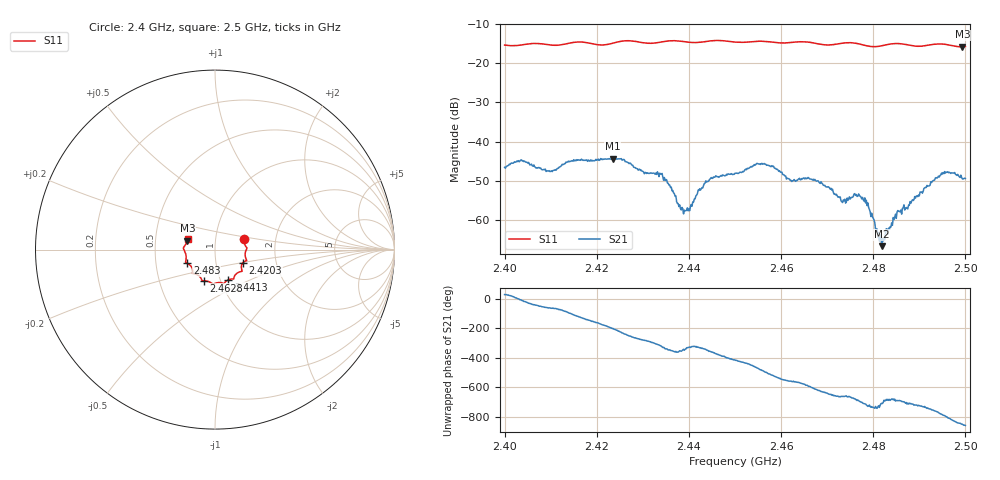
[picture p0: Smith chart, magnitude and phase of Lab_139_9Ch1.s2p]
# Hz S RI R 50
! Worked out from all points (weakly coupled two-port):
!   601 points, 2.4 GHz to 2.5 GHz, reference 50 ohm
!   highest |S21| = -44.35 dB at 2.4235 GHz (marker M1); lowest = -66.7 dB at 2.4818 GHz (marker M2)
!   lowest |S11| = -15.8 dB at 2.4993 GHz (marker M3), VSWR 1.39, Z = 36.5 + j3.72 ohm
!   |S11| at or under -10 dB: start of sweep to end of sweep
!   S12 and S22 are empty: the file has one direction only
!   S11 on the Smith chart (normalised r, x): 2.4 GHz: 1.37, +0.16; 2.4203 GHz: 1.35, -0.21; 2.4413 GHz: 1.09, -0.38; 2.4628 GHz: 0.83, -0.30; 2.483 GHz: 0.72, -0.11; 2.5 GHz: 0.73, +0.09
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2.4e9  0.1606 0.057  0.00403 0.00238  0 0  0 0
2.403833e9  0.1708 0.019  0.00554 -0.00107  0 0  0 0
2.41e9  0.1704 -0.01  0.00193 -0.00368  0 0  0 0
2.416667e9  0.1762 -0.0614  -0.00358 -0.00475  0 0  0 0
2.420333e9  0.1552 -0.0738  -0.00568 -0.00179  0 0  0 0
2.4235e9  0.1474 -0.1038  -0.0057 0.00206  0 0  0 0
2.433333e9  0.1081 -0.1485  0.00252 0.00298  0 0  0 0
2.438667e9  0.096 -0.1636  0.00134 0.000351  0 0  0 0
2.441333e9  0.0743 -0.168  0.00145 0.00115  0 0  0 0
2.445e9  0.0526 -0.1865  0.00338 -5.64e-05  0 0  0 0
2.45e9  0.0292 -0.1838  0.00228 -0.0032  0 0  0 0
2.456167e9  -0.0127 -0.1902  -0.00331 -0.00397  0 0  0 0
2.462833e9  -0.063 -0.1748  -0.003 0.00129  0 0  0 0
2.466667e9  -0.0742 -0.1675  -0.00155 0.00289  0 0  0 0
2.4735e9  -0.1211 -0.1345  0.000939 0.00152  0 0  0 0
2.477333e9  -0.124 -0.1219  0.00185 0.000633  0 0  0 0
2.481833e9  -0.1455 -0.082  0.000452 8.72e-05  0 0  0 0
2.483e9  -0.1548 -0.0766  0.000637 0.000414  0 0  0 0
2.483333e9  -0.1569 -0.0757  0.000668 0.000404  0 0  0 0
2.495e9  -0.1756 0.0108  0.00153 -0.00352  0 0  0 0
2.499333e9  -0.1542 0.0497  -0.00219 -0.00251  0 0  0 0
2.5e9  -0.1527 0.0586  -0.00256 -0.00219  0 0  0 0
